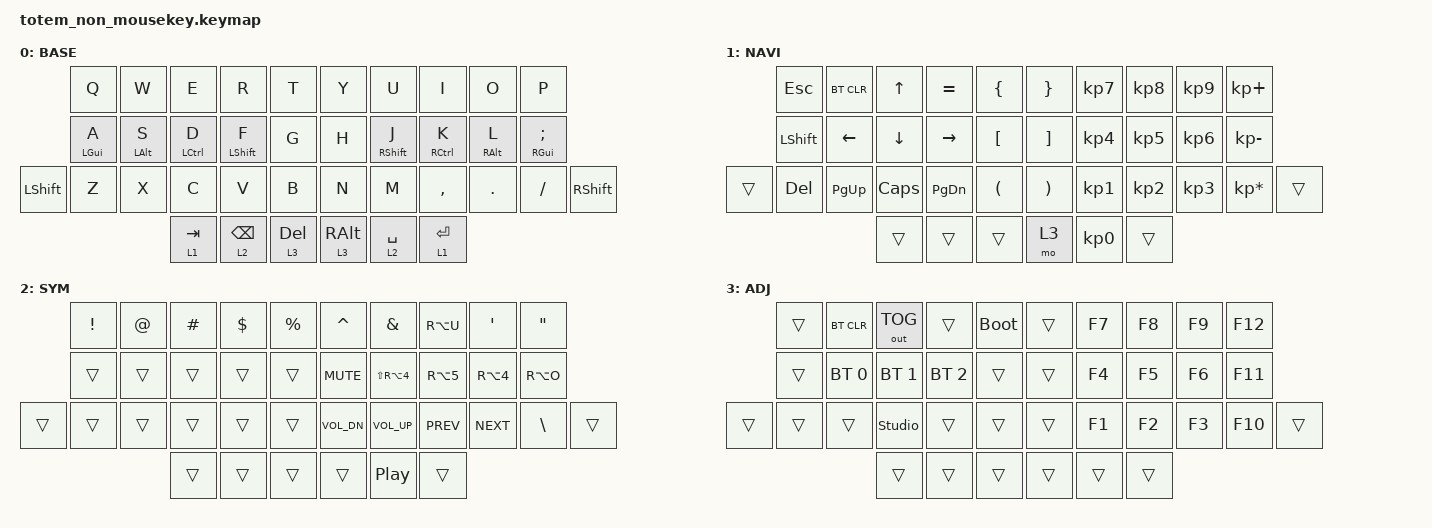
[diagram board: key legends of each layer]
#include <behaviors.dtsi>
#include <dt-bindings/zmk/bt.h>
#include <dt-bindings/zmk/keys.h>
#include <dt-bindings/zmk/outputs.h>
// #include <dt-bindings/zmk/mouse.h>

&mt {
    quick-tap-ms = <100>;
    global-quick-tap;
    flavor = "tap-preferred";
    tapping-term-ms = <170>;
};

/ {
    combos {
        compatible = "zmk,combos";

        combo_esc {
            timeout-ms = <51>;
            key-positions = <0 1>;
            bindings = <&kp ESC>;
        };
    };

    keymap {
        compatible = "zmk,keymap";

        base_layer {
            label = "BASE";
            bindings = <
                &kp Q       &kp W       &kp E        &kp R            &kp T           &kp Y            &kp U        &kp I        &kp O       &kp P
                &mt LGUI A  &mt LALT S  &mt LCTRL D  &mt LSHFT F      &kp G           &kp H            &mt RSHFT J  &mt RCTRL K  &mt RALT L  &mt RGUI SEMICOLON
&kp LEFT_SHIFT  &kp Z       &kp X       &kp C        &kp V            &kp B           &kp N            &kp M        &kp COMMA    &kp DOT     &kp FSLH            &kp RIGHT_SHIFT
                                        &lt 1 TAB    &lt 2 BACKSPACE  &lt 3 DELETE    &lt 3 RIGHT_ALT  &lt 2 SPACE  &lt 1 ENTER
            >;
        };

        nav_layer {
            label = "NAVI";
            bindings = <
        &kp ESC    &bt BT_CLR  &kp UP    &kp EQUAL  &kp LBRC    &kp RBRC  &kp KP_N7  &kp KP_N8  &kp KP_N9  &kp KP_PLUS
        &kp LSHFT  &kp LEFT    &kp DOWN  &kp RIGHT  &kp LBKT    &kp RBKT  &kp KP_N4  &kp KP_N5  &kp KP_N6  &kp KP_MINUS
&trans  &kp DEL    &kp PG_UP   &kp CAPS  &kp PG_DN  &kp LPAR    &kp RPAR  &kp KP_N1  &kp KP_N2  &kp KP_N3  &kp KP_MULTIPLY  &trans
                               &trans    &trans     &trans      &mo 3     &kp KP_N0  &trans
            >;
        };

        sim_layer {
            label = "SYM";
            bindings = <
        &kp EXCL  &kp AT  &kp HASH  &kp DLLR  &kp PRCNT    &kp CARET     &kp AMPS        &kp RA(U)   &kp SQT     &kp DQT
        &trans    &trans  &trans    &trans    &trans       &kp C_MUTE    &kp LS(RA(N4))  &kp RA(N5)  &kp RA(N4)  &kp RA(O)
&trans  &trans    &trans  &trans    &trans    &trans       &kp C_VOL_DN  &kp C_VOL_UP    &kp C_PREV  &kp C_NEXT  &kp BSLH   &trans
                          &trans    &trans    &trans       &trans        &kp C_PP        &trans
            >;
        };

        adjust_layer {
            label = "ADJ";
            bindings = <
        &trans  &bt BT_CLR    &out OUT_TOG    &trans        &bootloader    &trans  &kp F7  &kp F8  &kp F9  &kp F12
        &trans  &bt BT_SEL 0  &bt BT_SEL 1    &bt BT_SEL 2  &trans         &trans  &kp F4  &kp F5  &kp F6  &kp F11
&trans  &trans  &trans        &studio_unlock  &trans        &trans         &trans  &kp F1  &kp F2  &kp F3  &kp F10  &trans
                              &trans          &trans        &trans         &trans  &trans  &trans
            >;
        };
    };
};
